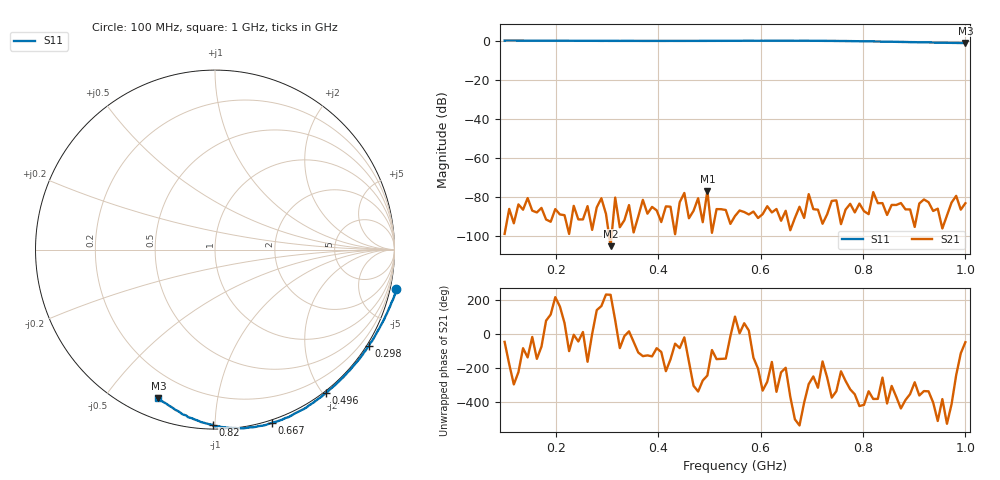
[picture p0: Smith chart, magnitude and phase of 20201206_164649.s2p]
# HZ S RI R 50
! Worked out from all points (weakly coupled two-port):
!   101 points, 100 MHz to 1 GHz, reference 50 ohm
!   highest |S21| = -76.83 dB at 496 MHz (marker M1); lowest = -105.1 dB at 307 MHz (marker M2)
!   lowest |S11| = -1.1 dB at 1 GHz (marker M3), VSWR 16.53, Z = 4.45 - j34.3 ohm
!   |S11| at or under -10 dB: nowhere
!   S12 and S22 are empty: the file has one direction only
!   S11 on the Smith chart (normalised r, x): 100 MHz: -1.33, -9.10; 298 MHz: -0.07, -3.48; 496 MHz: -0.03, -2.04; 667 MHz: -0.02, -1.38; 820 MHz: 0.02, -0.99; 1 GHz: 0.09, -0.69
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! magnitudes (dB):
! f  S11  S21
! 100 MHz  0.3  -98.8
! 253 MHz  0.1  -91.4
! 298 MHz  0.1  -88.6
! 307 MHz  0.1  -105.1
! 406 MHz  0.1  -92.7
! 442 MHz  0.1  -82.6
! 451 MHz  0.1  -77.8
! 460 MHz  0.1  -90.8
! 487 MHz  0.1  -92.8
! 496 MHz  0.1  -76.8
! 505 MHz  0.1  -98.2
! 550 MHz  0.1  -89.7
! 667 MHz  0.1  -90.6
! 685 MHz  0.1  -90.6
! 694 MHz  0.1  -78.4
! 703 MHz  0.1  -86.1
! 811 MHz  -0.1  -88.7
! 820 MHz  -0.2  -77.4
! 829 MHz  -0.2  -83.1
! 856 MHz  -0.4  -84.0
! 982 MHz  -1.0  -79.3
! 1 GHz  -1.1  -83.1
